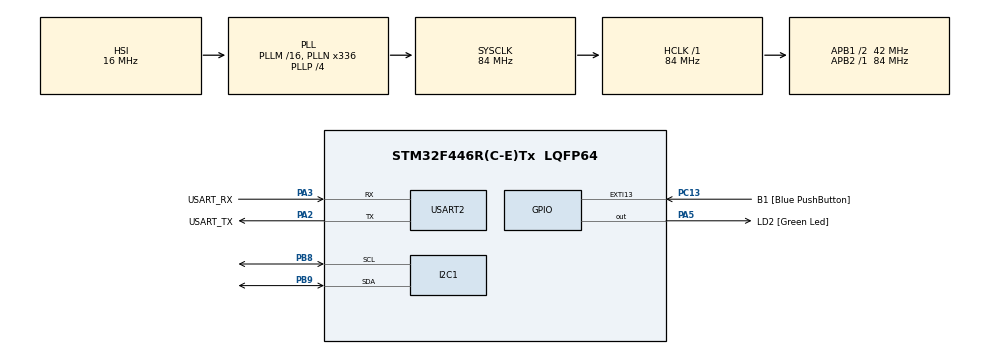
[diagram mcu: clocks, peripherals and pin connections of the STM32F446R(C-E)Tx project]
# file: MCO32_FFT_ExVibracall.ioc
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ARM.CMSIS.5.6.0.CMSISJjCORE=true
ARM.CMSIS.5.6.0.CMSISJjDSP=Library
I2C1.I2C_Mode=I2C_Fast
Mcu.Family=STM32F4
Mcu.Name=STM32F446R(C-E)Tx
Mcu.Package=LQFP64
NVIC.EXTI15_10_IRQn=true\:0\:0\:false\:false\:true\:true\:true\:true
NVIC.PriorityGroup=NVIC_PRIORITYGROUP_0
NVIC.TIM6_DAC_IRQn=true\:0\:2\:false\:false\:true\:true\:true\:true
PA13.GPIO_Label=TMS
PA13.Mode=Serial_Wire
PA13.Signal=SYS_JTMS-SWDIO
PA14.GPIO_Label=TCK
PA14.Mode=Serial_Wire
PA14.Signal=SYS_JTCK-SWCLK
PA2.GPIO_Label=USART_TX
PA2.Mode=Asynchronous
PA2.Signal=USART2_TX
PA3.GPIO_Label=USART_RX
PA3.Mode=Asynchronous
PA3.Signal=USART2_RX
PA5.GPIO_Label=LD2 [Green Led]
PA5.Signal=GPIO_Output
PB3.GPIO_Label=SWO
PB3.Signal=SYS_JTDO-SWO
PB8.Mode=I2C
PB8.Signal=I2C1_SCL
PB9.Mode=I2C
PB9.Signal=I2C1_SDA
PC13.GPIO_Label=B1 [Blue PushButton]
PC13.GPIO_ModeDefaultEXTI=GPIO_MODE_IT_FALLING
PC13.Signal=GPXTI13
PC14-OSC32_IN.Mode=LSE-External-Oscillator
PC14-OSC32_IN.Signal=RCC_OSC32_IN
PC15-OSC32_OUT.Mode=LSE-External-Oscillator
PC15-OSC32_OUT.Signal=RCC_OSC32_OUT
PH0-OSC_IN.Mode=HSE-External-Oscillator
PH0-OSC_IN.Signal=RCC_OSC_IN
PH1-OSC_OUT.Mode=HSE-External-Oscillator
PH1-OSC_OUT.Signal=RCC_OSC_OUT
ProjectManager.HeapSize=0x200
ProjectManager.StackSize=0x400
ProjectManager.TargetToolchain=STM32CubeIDE
RCC.48MHZClocksFreq_Value=84000000
RCC.AHBFreq_Value=84000000
RCC.APB1CLKDivider=RCC_HCLK_DIV2
RCC.APB1Freq_Value=42000000
RCC.APB1TimFreq_Value=84000000
RCC.APB2Freq_Value=84000000
RCC.APB2TimFreq_Value=84000000
RCC.CortexFreq_Value=84000000
RCC.FLatency-AdvancedSettings=FLASH_LATENCY_2
RCC.HCLKFreq_Value=84000000
RCC.HSE_VALUE=8000000
RCC.HSI_VALUE=16000000
RCC.PLLN=336
RCC.PLLP=RCC_PLLP_DIV4
RCC.SYSCLKFreq_VALUE=84000000
RCC.SYSCLKSource=RCC_SYSCLKSOURCE_PLLCLK
RCC.USBFreq_Value=168000000
RCC.VCOOutputFreq_Value=336000000
TIM1.AutoReloadPreload=TIM_AUTORELOAD_PRELOAD_ENABLE
TIM1.Period=0xFFFF-1
TIM1.Prescaler=84-1
TIM6.AutoReloadPreload=TIM_AUTORELOAD_PRELOAD_ENABLE
TIM6.Period=100-1
TIM6.Prescaler=8400-1
USART2.VirtualMode=VM_ASYNC
VP_ARM.CMSIS_VS_CMSISJjCORE_5.3.0_5.6.0.Mode=CMSISJjCORE
VP_ARM.CMSIS_VS_CMSISJjDSP_1.7.0_5.6.0.Mode=CMSISJjDSP
VP_TIM1_VS_ClockSourceINT.Mode=Internal
VP_TIM6_VS_ClockSourceINT.Mode=Enable_Timer
board=NUCLEO-F446RE

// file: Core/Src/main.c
/* USER CODE BEGIN Header */
/**
  ******************************************************************************
  * @file           : main.c
  * @brief          : Main program body
  ******************************************************************************
  * @attention
  *
  * Copyright (c) 2022 STMicroelectronics.
  * All rights reserved.
  *
  * This software is licensed under terms that can be found in the LICENSE file
  * in the root directory of this software component.
  * If no LICENSE file comes with this software, it is provided AS-IS.
  *
  ******************************************************************************
  */
/* USER CODE END Header */
#include "main.h"

/* USER CODE BEGIN Includes */
#include "fonts.h"
#include "tft.h"
#include "user_setting.h"
#include "functions.h"
#include "MPU6050_light_STM32.h"
#include <stdio.h>
#include <math.h>

#include "arm_math.h"
#include "arm_const_structs.h"
/* USER CODE END Includes */

/* USER CODE BEGIN PD */
#define SCREEN_ORIENTATION 1 //0: Retrato | 1: Paisagem
#define SCREEN_BG BLACK //Cor de fundo

/* Mais cores (em RGB 565) */
#define GREY 0xC618
#define ORANGE 0xF9E0
#define PURPLE 0x68FF

#define TEST_LENGTH_SAMPLES 2048
/* USER CODE END PD */

I2C_HandleTypeDef hi2c1;

TIM_HandleTypeDef htim1;
TIM_HandleTypeDef htim6;

UART_HandleTypeDef huart2;

/* USER CODE BEGIN PV */
/* -------------------------------------------------------------------
* External Input and Output buffer Declarations for FFT Bin Example
* ------------------------------------------------------------------- */
extern float32_t testInput_f32_10khz[TEST_LENGTH_SAMPLES];
static float32_t testOutput[TEST_LENGTH_SAMPLES/2];
/* ------------------------------------------------------------------
* Global variables for FFT Bin Example* ------------------------------------------------------------------- */
uint32_t fftSize = 1024;
uint32_t ifftFlag = 0;
uint32_t doBitReverse = 1;
/* Reference index at which max energy of bin ocuurs */
uint32_t refIndex = 213, testIndex = 0;
/* USER CODE END PV */

void SystemClock_Config(void);
static void MX_GPIO_Init(void);
static void MX_USART2_UART_Init(void);
static void MX_TIM1_Init(void);
static void MX_I2C1_Init(void);
static void MX_TIM6_Init(void);
/* USER CODE BEGIN PFP */
void setScreenSettings(void);
/* USER CODE END PFP */

/* USER CODE BEGIN 0 */
#ifdef __GNUC__
/* With GCC/RAISONANCE, small printf (option LD Linker-
>Libraries->Small printf
set to 'Yes') calls __io_putchar() */
#define PUTCHAR_PROTOTYPE int __io_putchar(int ch)
#else
#define PUTCHAR_PROTOTYPE int fputc(int ch, FILE *f)
#endif /* __GNUC__ */

int x = 0;
uint16_t am = 0;
float32_t amostras[2048];

/* USER CODE END 0 */

int main(void)
{

  /* MCU Configuration--------------------------------------------------------*/

  /* Reset of all peripherals, Initializes the Flash interface and the Systick. */
  HAL_Init();

  /* Configure the system clock */
  SystemClock_Config();

  /* Initialize all configured peripherals */
  MX_GPIO_Init();
  MX_USART2_UART_Init();
  MX_TIM1_Init();
  MX_I2C1_Init();
  MX_TIM6_Init();
  /* USER CODE BEGIN 2 */
  setScreenSettings();

  MPU6050_init(&hi2c1);
  HAL_Delay(1000);

  /* Aguarda amostragem */
  printnewtstr (15, WHITE, &mono12x7bold, 1, (uint8_t *)"Amostragem...");
  HAL_TIM_Base_Start_IT(&htim6);
  while(am < TEST_LENGTH_SAMPLES){}
  fillScreen(SCREEN_BG);

  /* ----------------------------------------------------------------------
   * Max magnitude FFT Bin test
   * ------------------------------------------------------------------- */
  arm_status status;
  float32_t maxValue;
  status = ARM_MATH_SUCCESS;//------------Teste LCD--------------
  float32_t espelho_pre_processamento[320];

  for(int i=0; i<320; i++)
	  espelho_pre_processamento[i] = amostras[i*2]; //Pula os zeros da parte imaginária
  /* Process the data through the CFFT/CIFFT module */
  arm_cfft_f32(&arm_cfft_sR_f32_len1024, amostras, ifftFlag, doBitReverse);
  /* Process the data through the Complex Magnitude Module for
  calculating the magnitude at each bin */
  arm_cmplx_mag_f32(amostras, testOutput, fftSize);
  /* Calculates maxValue and returns corresponding BIN value */
  arm_max_f32(testOutput, fftSize, &maxValue, &testIndex);
  // if (testIndex != refIndex)
  // {
  // status = ARM_MATH_TEST_FAILURE;
  // }
  /* ----------------------------------------------------------------------
   ** Loop here if the signals fail the PASS check.
   ** This denotes a test failure
   ** ------------------------------------------------------------------- */
  if ( status != ARM_MATH_SUCCESS)
  {
	  while (1);
  }
  //---------------Agora vai para o LCD----------------
  int32_t i, amp, escala, yini, yfinal, ycentro;
  char num[30];
  int32_t size;

  /* USER CODE END 2 */

  /* Infinite loop */
  /* USER CODE BEGIN WHILE */
  while (1)
  {
	  /* Exibição */
	  fillScreen(BLACK);
	  printnewtstr (15, WHITE, &mono12x7bold, 1, (uint8_t *)"FT-Dominio do Tempo");
	  escala = 100; //Empírico (visa ocupar a tela na vertical)
	  ycentro = 120;
	  for(i=0; i<320; i++)
	  {
		  amp = (int32_t)(espelho_pre_processamento[i]*escala);
		  size = sprintf(num,"%d\r\n",amp);
		  HAL_UART_Transmit(&huart2, num, size, 10);
		  if(amp>0) { yini = ycentro-amp; yfinal = ycentro; }
		  else { yini = ycentro; yfinal = ycentro-amp; }
		  fillRect(i, yini, 1, yfinal-yini+1, YELLOW);
		  //drawPixel(i, ycentro-amp, YELLOW);
	  }
	  HAL_Delay(3000);
	  fillScreen(BLACK);
	  printnewtstr (15, WHITE, &mono12x7bold, 1, (uint8_t *)"FT-Dominio da Freq.");
	  escala = 200;
	  ycentro = 230;
	  for(i=0; i<320; i++)
	  {
		  amp = (int32_t)(testOutput[i]*escala/maxValue);
		  size = sprintf(num,"%d\r\n",amp);
		  HAL_UART_Transmit(&huart2, num, size, 10);
		  if(amp>0) { yini = ycentro-amp; yfinal = ycentro; }else { yini = ycentro; yfinal = ycentro-amp; }
		  fillRect(i, yini, 1, yfinal-yini+1, YELLOW);
	  }
	  HAL_Delay(3000);

    /* USER CODE END WHILE */

  }
}

void SystemClock_Config(void)
{
  RCC_OscInitTypeDef RCC_OscInitStruct = {0};
  RCC_ClkInitTypeDef RCC_ClkInitStruct = {0};

  /** Configure the main internal regulator output voltage
  */
  __HAL_RCC_PWR_CLK_ENABLE();
  __HAL_PWR_VOLTAGESCALING_CONFIG(PWR_REGULATOR_VOLTAGE_SCALE3);

  /** Initializes the RCC Oscillators according to the specified parameters
  * in the RCC_OscInitTypeDef structure.
  */
  RCC_OscInitStruct.OscillatorType = RCC_OSCILLATORTYPE_HSI;
  RCC_OscInitStruct.HSIState = RCC_HSI_ON;
  RCC_OscInitStruct.HSICalibrationValue = RCC_HSICALIBRATION_DEFAULT;
  RCC_OscInitStruct.PLL.PLLState = RCC_PLL_ON;
  RCC_OscInitStruct.PLL.PLLSource = RCC_PLLSOURCE_HSI;
  RCC_OscInitStruct.PLL.PLLM = 16;
  RCC_OscInitStruct.PLL.PLLN = 336;
  RCC_OscInitStruct.PLL.PLLP = RCC_PLLP_DIV4;
  RCC_OscInitStruct.PLL.PLLQ = 2;
  RCC_OscInitStruct.PLL.PLLR = 2;
  if (HAL_RCC_OscConfig(&RCC_OscInitStruct) != HAL_OK)
  {
    Error_Handler();
  }

  /** Initializes the CPU, AHB and APB buses clocks
  */
  RCC_ClkInitStruct.ClockType = RCC_CLOCKTYPE_HCLK|RCC_CLOCKTYPE_SYSCLK
                              |RCC_CLOCKTYPE_PCLK1|RCC_CLOCKTYPE_PCLK2;
  RCC_ClkInitStruct.SYSCLKSource = RCC_SYSCLKSOURCE_PLLCLK;
  RCC_ClkInitStruct.AHBCLKDivider = RCC_SYSCLK_DIV1;
  RCC_ClkInitStruct.APB1CLKDivider = RCC_HCLK_DIV2;
  RCC_ClkInitStruct.APB2CLKDivider = RCC_HCLK_DIV1;

  if (HAL_RCC_ClockConfig(&RCC_ClkInitStruct, FLASH_LATENCY_2) != HAL_OK)
  {
    Error_Handler();
  }
}

static void MX_I2C1_Init(void)
{

  hi2c1.Instance = I2C1;
  hi2c1.Init.ClockSpeed = 400000;
  hi2c1.Init.DutyCycle = I2C_DUTYCYCLE_2;
  hi2c1.Init.OwnAddress1 = 0;
  hi2c1.Init.AddressingMode = I2C_ADDRESSINGMODE_7BIT;
  hi2c1.Init.DualAddressMode = I2C_DUALADDRESS_DISABLE;
  hi2c1.Init.OwnAddress2 = 0;
  hi2c1.Init.GeneralCallMode = I2C_GENERALCALL_DISABLE;
  hi2c1.Init.NoStretchMode = I2C_NOSTRETCH_DISABLE;
  if (HAL_I2C_Init(&hi2c1) != HAL_OK)
  {
    Error_Handler();
  }

}

static void MX_TIM1_Init(void)
{

  TIM_ClockConfigTypeDef sClockSourceConfig = {0};
  TIM_MasterConfigTypeDef sMasterConfig = {0};

  htim1.Instance = TIM1;
  htim1.Init.Prescaler = 84-1;
  htim1.Init.CounterMode = TIM_COUNTERMODE_UP;
  htim1.Init.Period = 0xFFFF-1;
  htim1.Init.ClockDivision = TIM_CLOCKDIVISION_DIV1;
  htim1.Init.RepetitionCounter = 0;
  htim1.Init.AutoReloadPreload = TIM_AUTORELOAD_PRELOAD_ENABLE;
  if (HAL_TIM_Base_Init(&htim1) != HAL_OK)
  {
    Error_Handler();
  }
  sClockSourceConfig.ClockSource = TIM_CLOCKSOURCE_INTERNAL;
  if (HAL_TIM_ConfigClockSource(&htim1, &sClockSourceConfig) != HAL_OK)
  {
    Error_Handler();
  }
  sMasterConfig.MasterOutputTrigger = TIM_TRGO_RESET;
  sMasterConfig.MasterSlaveMode = TIM_MASTERSLAVEMODE_DISABLE;
  if (HAL_TIMEx_MasterConfigSynchronization(&htim1, &sMasterConfig) != HAL_OK)
  {
    Error_Handler();
  }

}

static void MX_TIM6_Init(void)
{

  TIM_MasterConfigTypeDef sMasterConfig = {0};

  htim6.Instance = TIM6;
  htim6.Init.Prescaler = 8400-1;
  htim6.Init.CounterMode = TIM_COUNTERMODE_UP;
  htim6.Init.Period = 100-1;
  htim6.Init.AutoReloadPreload = TIM_AUTORELOAD_PRELOAD_ENABLE;
  if (HAL_TIM_Base_Init(&htim6) != HAL_OK)
  {
    Error_Handler();
  }
  sMasterConfig.MasterOutputTrigger = TIM_TRGO_RESET;
  sMasterConfig.MasterSlaveMode = TIM_MASTERSLAVEMODE_DISABLE;
  if (HAL_TIMEx_MasterConfigSynchronization(&htim6, &sMasterConfig) != HAL_OK)
  {
    Error_Handler();
  }

}

static void MX_USART2_UART_Init(void)
{

  huart2.Instance = USART2;
  huart2.Init.BaudRate = 115200;
  huart2.Init.WordLength = UART_WORDLENGTH_8B;
  huart2.Init.StopBits = UART_STOPBITS_1;
  huart2.Init.Parity = UART_PARITY_NONE;
  huart2.Init.Mode = UART_MODE_TX_RX;
  huart2.Init.HwFlowCtl = UART_HWCONTROL_NONE;
  huart2.Init.OverSampling = UART_OVERSAMPLING_16;
  if (HAL_UART_Init(&huart2) != HAL_OK)
  {
    Error_Handler();
  }

}

static void MX_GPIO_Init(void)
{
  GPIO_InitTypeDef GPIO_InitStruct = {0};

  /* GPIO Ports Clock Enable */
  __HAL_RCC_GPIOC_CLK_ENABLE();
  __HAL_RCC_GPIOH_CLK_ENABLE();
  __HAL_RCC_GPIOA_CLK_ENABLE();
  __HAL_RCC_GPIOB_CLK_ENABLE();

  /*Configure GPIO pin Output Level */
  HAL_GPIO_WritePin(LD2_GPIO_Port, LD2_Pin, GPIO_PIN_RESET);

  /*Configure GPIO pin : B1_Pin */
  GPIO_InitStruct.Pin = B1_Pin;
  GPIO_InitStruct.Mode = GPIO_MODE_IT_FALLING;
  GPIO_InitStruct.Pull = GPIO_NOPULL;
  HAL_GPIO_Init(B1_GPIO_Port, &GPIO_InitStruct);

  /*Configure GPIO pin : LD2_Pin */
  GPIO_InitStruct.Pin = LD2_Pin;
  GPIO_InitStruct.Mode = GPIO_MODE_OUTPUT_PP;
  GPIO_InitStruct.Pull = GPIO_NOPULL;
  GPIO_InitStruct.Speed = GPIO_SPEED_FREQ_LOW;
  HAL_GPIO_Init(LD2_GPIO_Port, &GPIO_InitStruct);

  /* EXTI interrupt init*/
  HAL_NVIC_SetPriority(EXTI15_10_IRQn, 0, 0);
  HAL_NVIC_EnableIRQ(EXTI15_10_IRQn);

}

/* USER CODE BEGIN 4 */

/**
 * @brief Configura o LCD
 */
void setScreenSettings(void)
{
	tft_gpio_init(); //Inicializa os GPIOs do LCD (evita uso do CubeMX)
	HAL_TIM_Base_Start(&htim1); //Inicializa o Timer1 (base de tempo de us do LCD)
	uint16_t ID = tft_readID(); //Lê o ID do LCD (poderia ser chamada pela inicialização do LCD)
	HAL_Delay(100);
	tft_init(ID); //Inicializa o LCD de acordo com seu ID
	setRotation(SCREEN_ORIENTATION); //Ajusta a orientação da tela
	fillScreen(SCREEN_BG);
}

void HAL_TIM_PeriodElapsedCallback(TIM_HandleTypeDef *htim)
{
	if(htim->Instance == TIM6)
	{
		MPU6050_update();
		amostras[am] = 0.9-MPU6050_getAccZ();
		printf("%f\r\n", amostras[am]);
		am++;
		amostras[am] = 0;
		printf("%f\r\n", amostras[am]);
		am++;
	}
}

/**
 * @brief Retargets the C library printf function to the USART.
 * @param None
 * @retval None
 */
PUTCHAR_PROTOTYPE
{
	/* Place your implementation of fputc here */
	/* e.g. write a character to the USART2 and Loop until the end
of transmission */
	HAL_UART_Transmit(&huart2, (uint8_t *)&ch, 1, 0xFFFF);
	return ch;
}

/* USER CODE END 4 */

void Error_Handler(void)
{
  __disable_irq();
  while (1)
  {
  }
}
